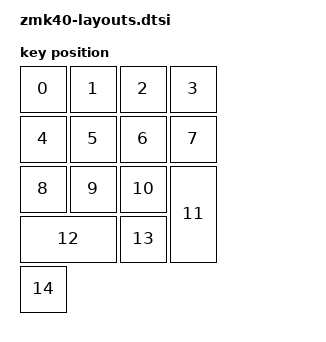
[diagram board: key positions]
// See https://zmk.dev/docs/development/hardware-integration/physical-layouts
// for how to configure this.

#include <physical_layouts.dtsi>

/ {
    layout_0: layout_0 {
        compatible = "zmk,physical-layout";
        display-name = "Layout";

        kscan = <&kscan0>;        
        transform = <&default_transform>;

        keys  //                     w   h    x    y     rot    rx    ry
            = <&key_physical_attrs 100 100    0    0       0     0     0>
            , <&key_physical_attrs 100 100  100    0       0     0     0>
            , <&key_physical_attrs 100 100  200    0       0     0     0>
            , <&key_physical_attrs 100 100  300    0       0     0     0>
            , <&key_physical_attrs 100 100    0  100       0     0     0>
            , <&key_physical_attrs 100 100  100  100       0     0     0>
            , <&key_physical_attrs 100 100  200  100       0     0     0>
            , <&key_physical_attrs 100 100  300  100       0     0     0>
            , <&key_physical_attrs 100 100    0  200       0     0     0>
            , <&key_physical_attrs 100 100  100  200       0     0     0>
            , <&key_physical_attrs 100 100  200  200       0     0     0>
            , <&key_physical_attrs 100 200  300  200       0     0     0>
            , <&key_physical_attrs 200 100    0  300       0     0     0>
            , <&key_physical_attrs 100 100  200  300       0     0     0>
            , <&key_physical_attrs 100 100    0  400       0     0     0>
            ;
    };
};
